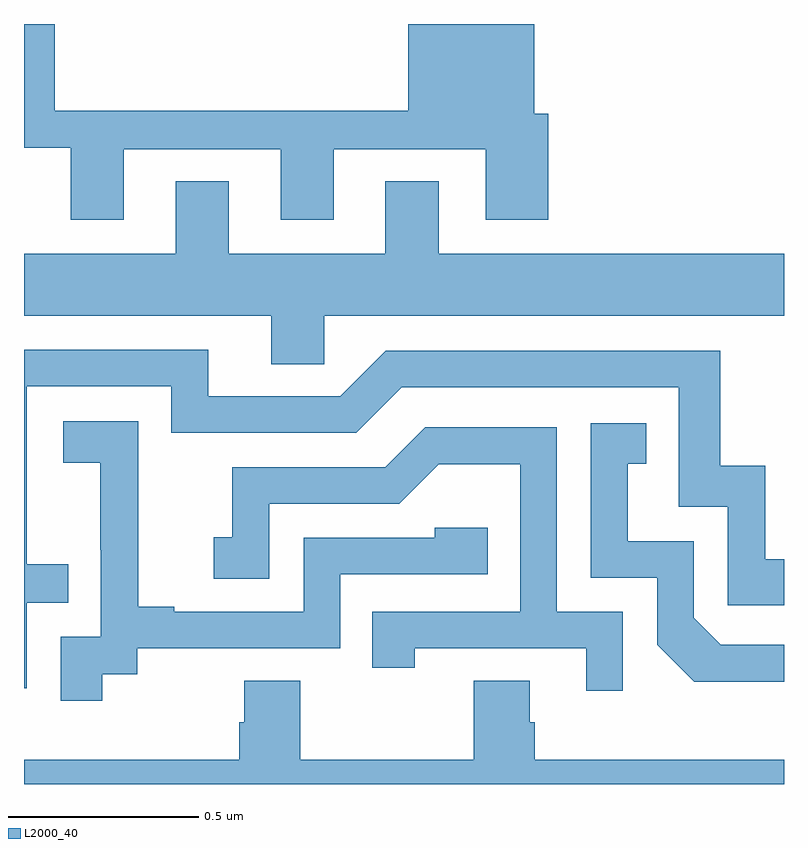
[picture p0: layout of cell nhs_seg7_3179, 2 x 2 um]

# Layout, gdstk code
import gdstk
lib = gdstk.Library(unit=1e-6, precision=1e-09)
def P(c, l, *ps):  # polygons
    for p in ps: c.add(gdstk.Polygon(p, *l))
L2000_40 = (2000, 40)

nhs_seg7_3179 = lib.new_cell('nhs_seg7_3179')
P(nhs_seg7_3179, L2000_40, [(155.263,1051.671),(155.675,1051.671),(155.675,1051.485),(155.815,1051.485),(155.815,1051.671),(156.215,1051.671),(156.215,1051.485),(156.38,1051.485),(156.38,1051.764),(156.343,1051.764),(156.343,1052),(156.011,1052),(156.011,1051.772),(155.081,1051.772),(155.081,1052),(155,1052),(155,1051.674),(155.123,1051.674),(155.123,1051.485),(155.263,1051.485)],
  [(155.79,1051.232),(157,1051.232),(157,1051.396),(156.091,1051.396),(156.091,1051.586),(155.951,1051.586),(155.951,1051.396),(155.539,1051.396),(155.539,1051.586),(155.399,1051.586),(155.399,1051.396),(155,1051.396),(155,1051.232),(155.651,1051.232),(155.651,1051.105),(155.79,1051.105)],
  [(155.007,1050.477),(155.117,1050.477),(155.117,1050.578),(155.007,1050.578),(155.007,1051.047),(155.388,1051.047),(155.388,1050.924),(155.874,1050.924),(155.994,1051.044),(156.723,1051.044),(156.723,1050.729),(156.852,1050.729),(156.852,1050.471),(157,1050.471),(157,1050.591),(156.95,1050.591),(156.95,1050.838),(156.832,1050.838),(156.832,1051.14),(155.952,1051.14),(155.832,1051.02),(155.485,1051.02),(155.485,1051.143),(155,1051.143),(155,1050.252),(155.007,1050.252)],
  [(155.206,1050.289),(155.298,1050.289),(155.298,1050.357),(155.832,1050.357),(155.832,1050.552),(156.221,1050.552),(156.221,1050.675),(156.081,1050.675),(156.081,1050.648),(155.736,1050.648),(155.736,1050.453),(155.395,1050.453),(155.395,1050.466),(155.3,1050.466),(155.3,1050.749),(155.301,1050.749),(155.301,1050.955),(155.103,1050.955),(155.103,1050.845),(155.201,1050.845),(155.201,1050.617),(155.202,1050.617),(155.202,1050.387),(155.097,1050.387),(155.097,1050.219),(155.206,1050.219)],
  [(157,1050.366),(156.834,1050.366),(156.762,1050.438),(156.762,1050.639),(156.589,1050.639),(156.589,1050.843),(156.638,1050.843),(156.638,1050.949),(156.492,1050.949),(156.492,1050.543),(156.666,1050.543),(156.666,1050.366),(156.764,1050.269),(157,1050.269)],
  [(156.576,1050.453),(156.402,1050.453),(156.402,1050.939),(156.056,1050.939),(155.951,1050.834),(155.548,1050.834),(155.548,1050.649),(155.499,1050.649),(155.499,1050.54),(155.646,1050.54),(155.646,1050.738),(155.988,1050.738),(156.092,1050.842),(156.306,1050.842),(156.306,1050.453),(155.917,1050.453),(155.917,1050.306),(156.028,1050.306),(156.028,1050.357),(156.479,1050.357),(156.479,1050.246),(156.576,1050.246)],
  [(157,1050.064),(156.344,1050.064),(156.344,1050.162),(156.331,1050.162),(156.331,1050.272),(156.184,1050.272),(156.184,1050.064),(155.727,1050.064),(155.727,1050.272),(155.579,1050.272),(155.579,1050.162),(155.567,1050.162),(155.567,1050.064),(155,1050.064),(155,1050),(157,1050)])

lib.write_gds('nhs_seg7_3179.gds')
